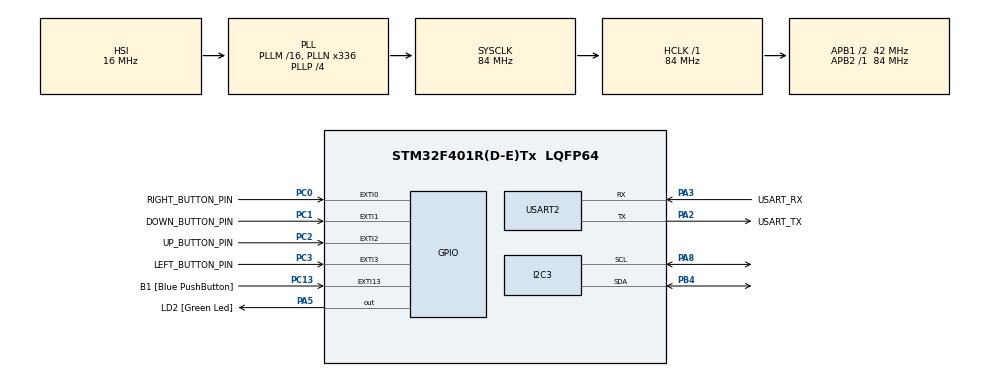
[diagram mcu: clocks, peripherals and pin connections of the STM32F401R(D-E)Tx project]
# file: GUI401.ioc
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Dma.I2C3_TX.0.Direction=DMA_MEMORY_TO_PERIPH
Dma.I2C3_TX.0.FIFOMode=DMA_FIFOMODE_DISABLE
Dma.I2C3_TX.0.Instance=DMA1_Stream4
Dma.I2C3_TX.0.MemDataAlignment=DMA_MDATAALIGN_BYTE
Dma.I2C3_TX.0.MemInc=DMA_MINC_ENABLE
Dma.I2C3_TX.0.Mode=DMA_NORMAL
Dma.I2C3_TX.0.PeriphDataAlignment=DMA_PDATAALIGN_BYTE
Dma.I2C3_TX.0.PeriphInc=DMA_PINC_DISABLE
Dma.I2C3_TX.0.Priority=DMA_PRIORITY_LOW
Dma.Request0=I2C3_TX
I2C3.I2C_Mode=I2C_Fast
Mcu.Family=STM32F4
Mcu.Name=STM32F401R(D-E)Tx
Mcu.Package=LQFP64
NVIC.DMA1_Stream4_IRQn=true\:0\:0\:false\:false\:true\:false\:true\:true
NVIC.EXTI0_IRQn=true\:0\:0\:false\:false\:true\:true\:true\:true
NVIC.EXTI1_IRQn=true\:0\:0\:false\:false\:true\:true\:true\:true
NVIC.EXTI2_IRQn=true\:0\:0\:false\:false\:true\:true\:true\:true
NVIC.EXTI3_IRQn=true\:0\:0\:false\:false\:true\:true\:true\:true
NVIC.I2C3_ER_IRQn=true\:0\:0\:false\:false\:true\:true\:true\:true
NVIC.I2C3_EV_IRQn=true\:0\:0\:false\:false\:true\:true\:true\:true
NVIC.PriorityGroup=NVIC_PRIORITYGROUP_4
PA13.GPIO_Label=TMS
PA13.Mode=Trace_Asynchronous_SW
PA13.Signal=SYS_JTMS-SWDIO
PA14.GPIO_Label=TCK
PA14.Mode=Trace_Asynchronous_SW
PA14.Signal=SYS_JTCK-SWCLK
PA2.GPIO_Label=USART_TX
PA2.GPIO_Mode=GPIO_MODE_AF_PP
PA2.GPIO_PuPd=GPIO_NOPULL
PA2.GPIO_Speed=GPIO_SPEED_FREQ_LOW
PA2.Mode=Asynchronous
PA2.Signal=USART2_TX
PA3.GPIO_Label=USART_RX
PA3.GPIO_Mode=GPIO_MODE_AF_PP
PA3.GPIO_PuPd=GPIO_NOPULL
PA3.GPIO_Speed=GPIO_SPEED_FREQ_LOW
PA3.Mode=Asynchronous
PA3.Signal=USART2_RX
PA5.GPIO_Label=LD2 [Green Led]
PA5.GPIO_Mode=GPIO_MODE_OUTPUT_PP
PA5.GPIO_PuPd=GPIO_NOPULL
PA5.GPIO_Speed=GPIO_SPEED_FREQ_LOW
PA5.Signal=GPIO_Output
PA8.Mode=I2C
PA8.Signal=I2C3_SCL
PB3.GPIO_Label=SWO
PB3.Mode=Trace_Asynchronous_SW
PB3.Signal=SYS_JTDO-SWO
PB4.Mode=I2C
PB4.Signal=I2C3_SDA
PC0.GPIO_Label=RIGHT_BUTTON_PIN
PC0.GPIO_ModeDefaultEXTI=GPIO_MODE_IT_RISING_FALLING
PC0.GPIO_PuPd=GPIO_PULLUP
PC0.Signal=GPXTI0
PC1.GPIO_Label=DOWN_BUTTON_PIN
PC1.GPIO_ModeDefaultEXTI=GPIO_MODE_IT_RISING_FALLING
PC1.GPIO_PuPd=GPIO_PULLUP
PC1.Signal=GPXTI1
PC13-ANTI_TAMP.GPIO_Label=B1 [Blue PushButton]
PC13-ANTI_TAMP.GPIO_ModeDefaultEXTI=GPIO_MODE_IT_FALLING
PC13-ANTI_TAMP.GPIO_PuPd=GPIO_NOPULL
PC13-ANTI_TAMP.Signal=GPXTI13
PC14-OSC32_IN.Mode=LSE-External-Oscillator
PC14-OSC32_IN.Signal=RCC_OSC32_IN
PC15-OSC32_OUT.Mode=LSE-External-Oscillator
PC15-OSC32_OUT.Signal=RCC_OSC32_OUT
PC2.GPIO_Label=UP_BUTTON_PIN
PC2.GPIO_ModeDefaultEXTI=GPIO_MODE_IT_RISING_FALLING
PC2.GPIO_PuPd=GPIO_PULLUP
PC2.Signal=GPXTI2
PC3.GPIO_Label=LEFT_BUTTON_PIN
PC3.GPIO_ModeDefaultEXTI=GPIO_MODE_IT_RISING_FALLING
PC3.GPIO_PuPd=GPIO_PULLUP
PC3.Signal=GPXTI3
PH0\ -\ OSC_IN.Mode=HSE-External-Clock-Source
PH0\ -\ OSC_IN.Signal=RCC_OSC_IN
PH1\ -\ OSC_OUT.Mode=HSE-External-Clock-Source
PH1\ -\ OSC_OUT.Signal=RCC_OSC_OUT
ProjectManager.HeapSize=0x200
ProjectManager.StackSize=0x400
ProjectManager.TargetToolchain=STM32CubeIDE
RCC.48MHZClocksFreq_Value=48000000
RCC.AHBFreq_Value=84000000
RCC.APB1CLKDivider=RCC_HCLK_DIV2
RCC.APB1Freq_Value=42000000
RCC.APB1TimFreq_Value=84000000
RCC.APB2Freq_Value=84000000
RCC.APB2TimFreq_Value=84000000
RCC.CortexFreq_Value=84000000
RCC.HCLKFreq_Value=84000000
RCC.HSE_VALUE=8000000
RCC.HSI_VALUE=16000000
RCC.PLLN=336
RCC.PLLP=RCC_PLLP_DIV4
RCC.PLLQ=7
RCC.SYSCLKFreq_VALUE=84000000
RCC.SYSCLKSource=RCC_SYSCLKSOURCE_PLLCLK
RCC.VCOOutputFreq_Value=336000000
USART2.VirtualMode=VM_ASYNC
board=NUCLEO-F401RE

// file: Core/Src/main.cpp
/* USER CODE BEGIN Header */
/**
  ******************************************************************************
  * @file           : main.c
  * @brief          : Main program body
  ******************************************************************************
  * @attention
  *
  * Copyright (c) 2025 STMicroelectronics.
  * All rights reserved.
  *
  * This software is licensed under terms that can be found in the LICENSE file
  * in the root directory of this software component.
  * If no LICENSE file comes with this software, it is provided AS-IS.
  *
  ******************************************************************************
  */
/* USER CODE END Header */
#include "main.h"
#include "dma.h"
#include "i2c.h"
#include "usart.h"
#include "gpio.h"

/* USER CODE BEGIN Includes */
#include "u8g2.h"
#include "u8g2_stm32.h"
#include "mui.h"

#include "ui_controls.h"

#include "UserActionPanel.h"
#include "MainViewController.h"

//#include "../../SSD1306/ssd1306.h"
//#include "../../SSD1306/ssd1306_fonts.h"

/* USER CODE END Includes */

void SystemClock_Config(void);

/* USER CODE BEGIN 0 */
u8g2_t u8g2;
mui_t mui;

UserActionPanel userActionPanel;

uint8_t myMenuCallback(mui_t *ui, uint8_t msg) {
    if (msg == MUIF_MSG_DRAW) {
        u8g2_DrawStr(&u8g2, 10, 20, "Hello, MUI!");
    }
    return 0;
}

//mui_menu_entry_t menu[] = {
//    {1, "Start",  myMenuCallback},  // Пункт меню "Start"
//    {2, "Settings", myMenuCallback}, // "Settings"
//    {3, "About", myMenuCallback},   // "About"
//    {0, NULL, NULL} // Кінець меню (важливо!)
//};

//const mui_menu_entry_t main_menu[] = {
//  {MUI_MENU_HEADER, "Main Menu"},
//  {MUI_MENU_BUTTON, "Start", MUI_ACTION_GOTO, 1},
//  {MUI_MENU_BUTTON, "Settings", MUI_ACTION_GOTO, 2},
//  {MUI_MENU_BUTTON, "Exit", MUI_ACTION_EXIT, 0}
//};

uint8_t menu_list[] = { 1, 2, 3, 0 };

//uint8_t drawMenu(mui_t *ui, uint8_t msg) {
//    if (msg == MUIF_MSG_DRAW) {
//        switch (mui_GetCurrentFormId(ui)) {
//            case 1: mui_Draw(&mui, 10, 20, "Start"); break;
//            case 2: mui_DrawStr(&mui, 10, 40, "Settings"); break;
//            case 3: mui_DrawStr(&mui, 10, 60, "About"); break;
//        }
//    }
//    return 0;
//}

fds_t fds[] = {
    1,
    2,
	3
};

muif_t muif[] = {
    1,
    2,
	3
};

void u8g2_Init(void) {
	u8g2_Setup_ssd1306_i2c_128x32_univision_f(&u8g2, U8G2_R0, u8x8_byte_i2c_dma, u8x8_gpio_and_delay_stm32);
    u8g2_InitDisplay(&u8g2);
    u8g2_SetPowerSave(&u8g2, 0);
    u8g2_SetFont(&u8g2, u8g2_font_5x8_t_cyrillic);

    u8g2_ClearBuffer(&u8g2);
    u8g2_SendBuffer(&u8g2);

//    mui_Init(&mui, &u8g2, fds, muif, sizeof(muif) / sizeof(muif_t));
//    mui_Register(&mui, 0, myMenuCallback);
//    mui_ListInit(&mui, menu_list);
//    mui_GotoForm(&mui, 1, 0);

////    ssd1306_Init();
//
//
//    u8g2_DrawVLine(&u8g2, 0, 10, 20);
//    u8g2_DrawHLine(&u8g2, 0, 0, 20);
//    u8g2_SendBuffer(&u8g2);

//    ssd1306_SetCursor(5, 5);
//    ssd1306_WriteString("qwerty", Font_16x26, White);
//    ssd1306_UpdateScreen();
}

/* USER CODE END 0 */

int main(void)
{

  /* MCU Configuration--------------------------------------------------------*/

  /* Reset of all peripherals, Initializes the Flash interface and the Systick. */
  HAL_Init();

  /* Configure the system clock */
  SystemClock_Config();

  /* Initialize all configured peripherals */
  MX_GPIO_Init();
  MX_DMA_Init();
  MX_USART2_UART_Init();
  MX_I2C3_Init();
  /* USER CODE BEGIN 2 */
//  ssd1306_Init();
  u8g2_Init();
//  ssd1306_Line(10, 5, 108, 5, White);
//  ssd1306_UpdateScreen();

//  u8g2_ClearBuffer(&u8g2);
//  u8g2_SetFont(&u8g2, u8g2_font_ncenB08_tr);
//  u8g2_DrawStr(&u8g2, 10, 10, "Hello STM32!");
//  u8g2_SendBuffer(&u8g2);
//
//  u8g2_DrawHLine(&u8g2, 0, 0, 100);
//  u8g2_SendBuffer(&u8g2);

//  ssd1306_Line(10, 5, 108, 5, White);
//  ssd1306_UpdateScreen();

  MainViewController mainViewController = MainViewController(u8g2);
  userActionPanel.eventReciever = &mainViewController;

  /* USER CODE END 2 */

  /* Infinite loop */
  /* USER CODE BEGIN WHILE */
  while (1)
  {
	  mainViewController.update();

//	  u8g2_ClearBuffer(&u8g2);
//	  mui_Draw(&mui);
//	  u8g2_SendBuffer(&u8g2);

//	  u8g2_ClearBuffer(&u8g2);
////	  u8g2_SetDrawColor(&u8g2, 1);
//	  u8g2_DrawLine(&u8g2, 5, 5, 100, 5);
//	  u8g2_SetFont(&u8g2, u8g2_font_ncenB08_tr);
//	  u8g2_DrawStr(&u8g2, 0, 0, "Hello STM32!");
//	  u8g2_SendBuffer(&u8g2);

    /* USER CODE END WHILE */

  }
}

void SystemClock_Config(void)
{
  RCC_OscInitTypeDef RCC_OscInitStruct = {0};
  RCC_ClkInitTypeDef RCC_ClkInitStruct = {0};

  /** Configure the main internal regulator output voltage
  */
  __HAL_RCC_PWR_CLK_ENABLE();
  __HAL_PWR_VOLTAGESCALING_CONFIG(PWR_REGULATOR_VOLTAGE_SCALE2);

  /** Initializes the RCC Oscillators according to the specified parameters
  * in the RCC_OscInitTypeDef structure.
  */
  RCC_OscInitStruct.OscillatorType = RCC_OSCILLATORTYPE_HSI;
  RCC_OscInitStruct.HSIState = RCC_HSI_ON;
  RCC_OscInitStruct.HSICalibrationValue = RCC_HSICALIBRATION_DEFAULT;
  RCC_OscInitStruct.PLL.PLLState = RCC_PLL_ON;
  RCC_OscInitStruct.PLL.PLLSource = RCC_PLLSOURCE_HSI;
  RCC_OscInitStruct.PLL.PLLM = 16;
  RCC_OscInitStruct.PLL.PLLN = 336;
  RCC_OscInitStruct.PLL.PLLP = RCC_PLLP_DIV4;
  RCC_OscInitStruct.PLL.PLLQ = 7;
  if (HAL_RCC_OscConfig(&RCC_OscInitStruct) != HAL_OK)
  {
    Error_Handler();
  }

  /** Initializes the CPU, AHB and APB buses clocks
  */
  RCC_ClkInitStruct.ClockType = RCC_CLOCKTYPE_HCLK|RCC_CLOCKTYPE_SYSCLK
                              |RCC_CLOCKTYPE_PCLK1|RCC_CLOCKTYPE_PCLK2;
  RCC_ClkInitStruct.SYSCLKSource = RCC_SYSCLKSOURCE_PLLCLK;
  RCC_ClkInitStruct.AHBCLKDivider = RCC_SYSCLK_DIV1;
  RCC_ClkInitStruct.APB1CLKDivider = RCC_HCLK_DIV2;
  RCC_ClkInitStruct.APB2CLKDivider = RCC_HCLK_DIV1;

  if (HAL_RCC_ClockConfig(&RCC_ClkInitStruct, FLASH_LATENCY_2) != HAL_OK)
  {
    Error_Handler();
  }
}

/* USER CODE BEGIN 4 */
void HAL_GPIO_EXTI_Callback(uint16_t GPIO_Pin) {
	userActionPanel.handleInterrupt(GPIO_Pin);
}

/* USER CODE END 4 */

void Error_Handler(void)
{
  __disable_irq();
  while (1)
  {
  }
}
